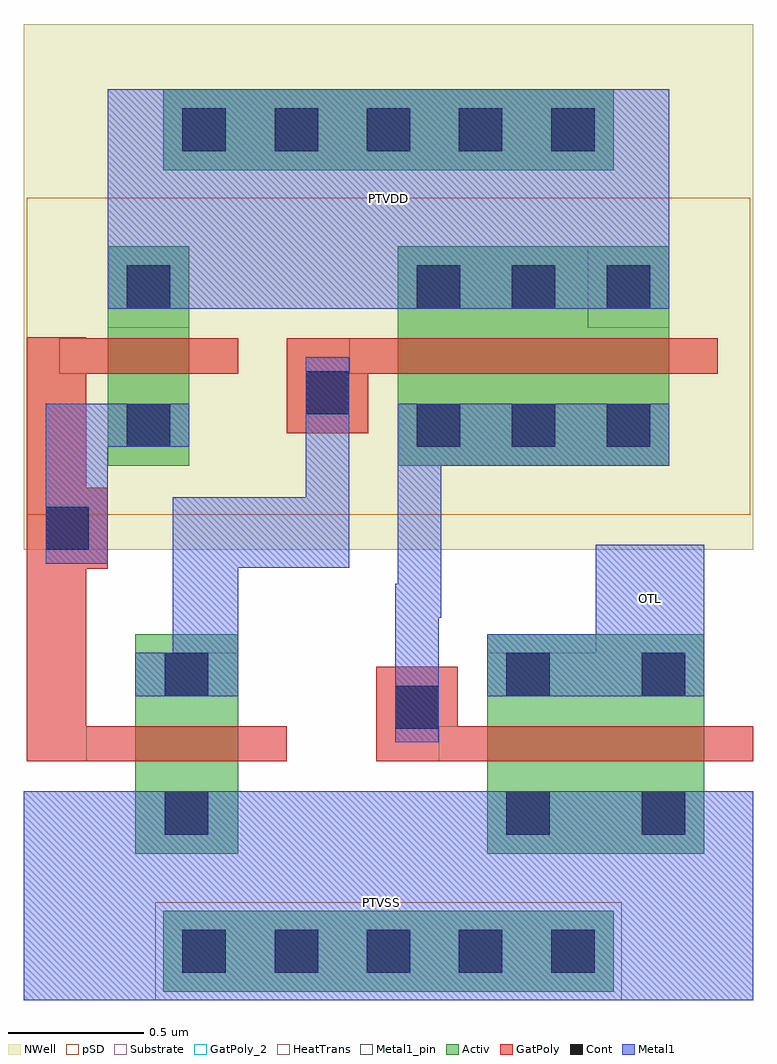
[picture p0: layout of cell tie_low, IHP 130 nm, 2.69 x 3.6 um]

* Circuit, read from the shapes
.subckt tie_low OTL PTVDD PTVSS
XM1 n1 n2 PTVSS PTVSS sg13_lv_nmos w=0.38u l=0.13u
XM2 OTL n3 PTVSS PTVSS sg13_lv_nmos w=0.8u l=0.13u
XM3 PTVDD n2 n2 PTVDD sg13_lv_pmos w=0.3u l=0.13u
XM4 PTVDD n1 n3 PTVDD sg13_lv_pmos w=1u l=0.13u
.ends

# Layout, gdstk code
from math import pi, radians
import gdstk
lib = gdstk.Library(unit=1e-6, precision=5e-09)
def R(c, l, rs):  # rectangles x0, y0, x1, y1
    for r in rs: c.add(gdstk.rectangle(r[:2], r[2:], *l))
def A(c, l, x, y, w, h, nx, ny, dx, dy):  # array of equal rectangles
    R(c, l, [(x+i*dx, y+j*dy, x+i*dx+w, y+j*dy+h) for i in range(nx) for j in range(ny)])
Activ = (1, 0)
GatPoly = (5, 0)
GatPoly_2 = (5, 2)
Cont = (6, 0)
Metal1 = (8, 0)
Metal1_pin = (8, 2)
pSD = (14, 0)
NWell = (31, 0)
Substrate = (40, 0)
HeatTrans = (51, 0)

nmos_1 = lib.new_cell('nmos$1')
R(nmos_1, Activ, [(0,0,0.3,0.3), (0,0,0.81,0.38), (0.51,0,0.81,0.3)])
R(nmos_1, GatPoly, [(0.34,-0.18,0.47,0.56)])
R(nmos_1, GatPoly_2, [(0.34,-0.18,0.47,0.56)])
R(nmos_1, Cont, [(0.07,0.11,0.23,0.27), (0.58,0.11,0.74,0.27)])
R(nmos_1, Metal1, [(0.07,0,0.23,0.38), (0.58,0,0.74,0.38)])
R(nmos_1, Metal1_pin, [(0.07,0,0.23,0.38), (0.58,0,0.74,0.38)])
R(nmos_1, HeatTrans, [(0.34,-0.18,0.47,0.56)])
nmos_1.add(gdstk.Label('nmos', (0.405,0.19), layer=63, texttype=0))
nmos_1.add(gdstk.Label('nmos', (0.405,0.19), layer=51, texttype=0))

pmos_1 = lib.new_cell('pmos$1')
R(pmos_1, Activ, [(0,0,0.3,0.3), (0,0,0.81,0.3), (0.51,0,0.81,0.3)])
R(pmos_1, GatPoly, [(0.34,-0.18,0.47,0.48), (0.34,-0.18,0.47,0.48)])
R(pmos_1, Cont, [(0.07,0.07,0.23,0.23), (0.58,0.07,0.74,0.23)])
R(pmos_1, Metal1, [(0.07,0,0.23,0.3), (0.07,0,0.23,0.3), (0.58,0,0.74,0.3), (0.58,0,0.74,0.3)])
R(pmos_1, pSD, [(-0.18,-0.3,0.99,0.6)])
R(pmos_1, NWell, [(-0.31,-0.31,1.12,0.61)])
R(pmos_1, Substrate, [(0.51,0,0.81,0.3)])
R(pmos_1, HeatTrans, [(0.34,-0.18,0.47,0.48)])
pmos_1.add(gdstk.Label('pmos', (0.405,0.15), layer=63, texttype=0))
pmos_1.add(gdstk.Label('pmos', (0.405,0.15), layer=51, texttype=0))

pmos = lib.new_cell('pmos')
R(pmos, Activ, [(0,0,0.3,0.3), (0,0,0.81,1), (0.51,0,0.81,0.3)])
R(pmos, GatPoly, [(0.34,-0.18,0.47,1.18), (0.34,-0.18,0.47,1.18)])
A(pmos, Cont, 0.07, 0.07, 0.16, 0.16, 1, 3, 0, 0.35)
A(pmos, Cont, 0.58, 0.07, 0.16, 0.16, 1, 3, 0, 0.35)
R(pmos, Metal1, [(0.07,0,0.23,1), (0.07,0,0.23,1), (0.58,0,0.74,1), (0.58,0,0.74,1)])
R(pmos, pSD, [(-0.18,-0.3,0.99,1.3)])
R(pmos, NWell, [(-0.31,-0.31,1.12,1.31)])
R(pmos, Substrate, [(0.51,0,0.81,0.3)])
R(pmos, HeatTrans, [(0.34,-0.18,0.47,1.18)])
pmos.add(gdstk.Label('pmos', (0.405,0.5), layer=63, texttype=0))
pmos.add(gdstk.Label('pmos', (0.405,0.5), layer=51, texttype=0))

nmos = lib.new_cell('nmos')
R(nmos, Activ, [(0,0,0.3,0.3), (0,0,0.81,0.8), (0.51,0,0.81,0.3)])
R(nmos, GatPoly, [(0.34,-0.18,0.47,0.98)])
R(nmos, GatPoly_2, [(0.34,-0.18,0.47,0.98)])
R(nmos, Cont, [(0.07,0.07,0.23,0.23), (0.58,0.07,0.74,0.23), (0.07,0.57,0.23,0.73), (0.58,0.57,0.74,0.73)])
R(nmos, Metal1, [(0.07,0,0.23,0.8), (0.58,0,0.74,0.8)])
R(nmos, Metal1_pin, [(0.07,0,0.23,0.8), (0.58,0,0.74,0.8)])
R(nmos, HeatTrans, [(0.34,-0.18,0.47,0.98)])
nmos.add(gdstk.Label('nmos', (0.405,0.4), layer=63, texttype=0))
nmos.add(gdstk.Label('nmos', (0.405,0.4), layer=51, texttype=0))

via_stack = lib.new_cell('via_stack')
R(via_stack, Activ, [(-0.83,-0.15,0.83,0.15)])
A(via_stack, Cont, -0.76, -0.08, 0.16, 0.16, 5, 1, 0.34, 0)
R(via_stack, Metal1, [(-0.81,-0.08,0.81,0.08)])

via_stack_3 = lib.new_cell('via_stack$3')
R(via_stack_3, GatPoly, [(-0.15,-0.15,0.15,0.15)])
R(via_stack_3, Cont, [(-0.08,-0.08,0.08,0.08)])
R(via_stack_3, Metal1, [(-0.13,-0.08,0.13,0.08)])

tie_low = lib.new_cell('tie_low')
R(tie_low, GatPoly, [(0.01,0.88,0.23,2.445), (1.3,0.88,1.53,0.93), (0.97,2.39,1.2,2.44)])
R(tie_low, Metal1, [(0,0,2.69,0.77), (1.71,1.12,2.51,1.35), (1.37,1.21,1.38,1.535), (1.38,1.21,1.53,2.04), (0.55,1.28,0.79,1.855), (2.11,1.28,2.51,1.68), (1.53,1.41,1.54,2.04), (0.79,1.595,1.07,1.855), (1.04,1.595,1.2,2.16), (0.08,1.61,0.31,1.635), (0.08,1.635,0.31,2.2), (1.38,1.97,2.38,2.2), (0.31,2.55,2.38,3.36)])
R(tie_low, Metal1_pin, [(0,0,2.69,0.77), (2.11,1.28,2.51,1.68), (0.31,2.55,2.38,3.36)])
R(tie_low, pSD, [(0.485,0,2.205,0.36), (0.91,1.79,1.08,2.96)])
R(tie_low, NWell, [(0.92,1.66,1.07,3.09), (0,3.09,2.69,3.6)])
tie_low.add(gdstk.Reference(nmos_1, (0.79,0.54), rotation=pi/2))
tie_low.add(gdstk.Reference(pmos_1, (0.61,1.97), rotation=pi/2))
tie_low.add(gdstk.Reference(pmos, (2.38,1.97), rotation=pi/2))
tie_low.add(gdstk.Reference(nmos, (2.51,0.54), rotation=pi/2))
tie_low.add(gdstk.Reference(via_stack, (1.345,0.18)))
tie_low.add(gdstk.Reference(via_stack_3, (0.16,1.74), rotation=pi/2))
tie_low.add(gdstk.Reference(via_stack_3, (1.45,1.08), rotation=pi/2))
tie_low.add(gdstk.Reference(via_stack, (1.345,3.21)))
tie_low.add(gdstk.Reference(via_stack_3, (1.12,2.24), rotation=pi/2))
tie_low.add(gdstk.Label('OTL', (2.31,1.48), layer=8, texttype=25))
tie_low.add(gdstk.Label('PTVSS', (1.32,0.36), layer=8, texttype=25))
tie_low.add(gdstk.Label('PTVDD', (1.345,2.955), layer=8, texttype=25))

lib.write_gds('tie_low.gds')
